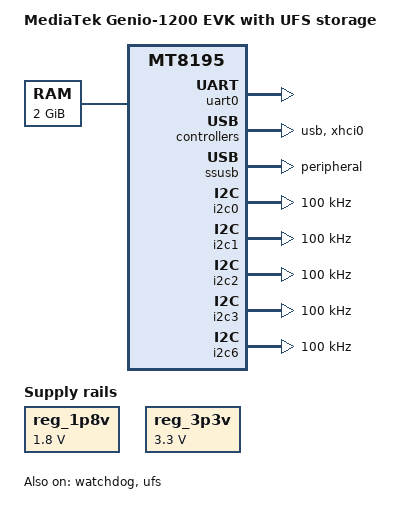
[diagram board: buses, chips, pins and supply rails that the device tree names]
// SPDX-License-Identifier: GPL-2.0 OR MIT
/*
 * Copyright (C) 2021 BayLibre SAS.
 * Author: Fabien Parent <fparent@baylibre.com>
 */

/dts-v1/;

#include <config.h>
#include "mt8195.dtsi"

/ {
	model = "MediaTek Genio-1200 EVK with UFS storage";
	compatible = "mediatek,mt8395-evk", "mediatek,mt8195";

	memory@40000000 {
		device_type = "memory";
		reg = <0 0x40000000 0 0x80000000>;
	};

	firmware: firmware {
		optee {
			compatible = "linaro,optee-tz";
			method = "smc";
		};
	};

	reserved-memory {
		#address-cells = <2>;
		#size-cells = <2>;
		ranges;

		/* 2 MiB reserved for ARM Trusted Firmware (BL31) */
		bl31_secmon_reserved: secmon@54600000 {
			no-map;
			reg = <0 0x54600000 0x0 0x200000>;
		};

		/* 12 MiB reserved for OP-TEE (BL32)
		 * +-----------------------+ 0x43e0_0000
		 * |      SHMEM 2MiB       |
		 * +-----------------------+ 0x43c0_0000
		 * |        | TA_RAM  8MiB |
		 * + TZDRAM +--------------+ 0x4340_0000
		 * |        | TEE_RAM 2MiB |
		 * +-----------------------+ 0x4320_0000
		 */
		optee_reserved: optee@43200000 {
			no-map;
			reg = <0 0x43200000 0 0x00c00000>;
		};
	};

	chosen {
		stdout-path = &uart0;
	};

	reg_1p8v: regulator-1p8v {
		compatible = "regulator-fixed";
		regulator-name = "fixed-1.8V";
		regulator-min-microvolt = <1800000>;
		regulator-max-microvolt = <1800000>;
		regulator-boot-on;
		regulator-always-on;
	};

	reg_3p3v: regulator-3p3v {
		compatible = "regulator-fixed";
		regulator-name = "fixed-3.3V";
		regulator-min-microvolt = <3300000>;
		regulator-max-microvolt = <3300000>;
		regulator-boot-on;
		regulator-always-on;
	};
};

&pio {
	i2c0_pins: i2c0 {
		pinmux = <PINMUX_GPIO8__FUNC_SDA0>,
			 <PINMUX_GPIO9__FUNC_SCL0>;
		input-enable;
		bias-pull-up;
	};

	i2c1_pins: i2c1 {
		pinmux = <PINMUX_GPIO10__FUNC_SDA1>,
			 <PINMUX_GPIO11__FUNC_SCL1>;
		input-enable;
		bias-pull-up;
	};

	i2c2_pins: i2c2 {
		pinmux = <PINMUX_GPIO12__FUNC_SDA2>,
			 <PINMUX_GPIO13__FUNC_SCL2>;
		input-enable;
		bias-pull-up;
	};

	i2c3_pins: i2c3 {
		pinmux = <PINMUX_GPIO14__FUNC_SDA3>,
			 <PINMUX_GPIO15__FUNC_SCL3>;
		input-enable;
		bias-pull-up;
	};

	i2c6_pins: i2c6 {
		pinmux = <PINMUX_GPIO25__FUNC_SDA6>,
			 <PINMUX_GPIO26__FUNC_SCL6>;
		input-enable;
		bias-pull-up;
	};
};

&watchdog {
	status = "okay";
};

&uart0 {
	status = "okay";
};

&ufs {
	status = "okay";
};

&usb {
	status = "okay";
};

&ssusb {
	mediatek,force-vbus;
	maximum-speed = "high-speed";
	dr_mode = "peripheral";
	status = "okay";
};

&xhci0 {
	status = "okay";
};

&i2c0 {
	clock-frequency = <100000>;
	pinctrl-0 = <&i2c0_pins>;
	pinctrl-names = "default";
	status = "okay";
};

&i2c1 {
	clock-frequency = <100000>;
	pinctrl-0 = <&i2c1_pins>;
	pinctrl-names = "default";
	status = "okay";
};

&i2c2 {
	clock-frequency = <100000>;
	pinctrl-0 = <&i2c2_pins>;
	pinctrl-names = "default";
	status = "okay";
};

&i2c3 {
	clock-frequency = <100000>;
	pinctrl-0 = <&i2c3_pins>;
	pinctrl-names = "default";
	status = "okay";
};

&i2c6 {
	clock-frequency = <100000>;
	pinctrl-0 = <&i2c6_pins>;
	pinctrl-names = "default";
	status = "okay";
};
